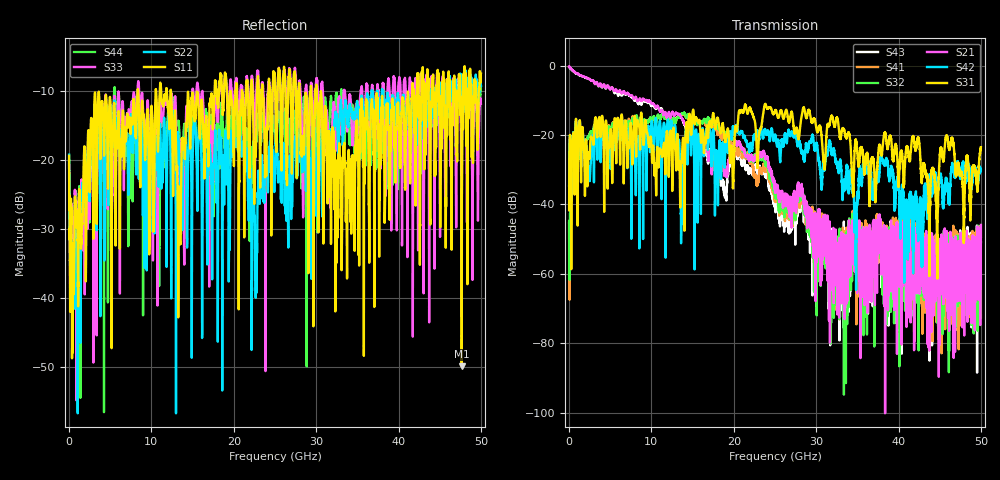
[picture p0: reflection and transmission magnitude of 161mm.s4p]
!Agilent Technologies,N5245A,MY51251349,A.09.33.09
!Agilent N5245A: A.09.33.09
!Date: Wednesday, September 30, 2020 16:31:15
!Correction: S11(Full 4 Port(1,2,3,4))
!S12(Full 4 Port(1,2,3,4))
!S13(Full 4 Port(1,2,3,4))
!S14(Full 4 Port(1,2,3,4))
!S21(Full 4 Port(1,2,3,4))
!S22(Full 4 Port(1,2,3,4))
!S23(Full 4 Port(1,2,3,4))
!S24(Full 4 Port(1,2,3,4))
!S31(Full 4 Port(1,2,3,4))
!S32(Full 4 Port(1,2,3,4))
!S33(Full 4 Port(1,2,3,4))
!S34(Full 4 Port(1,2,3,4))
!S41(Full 4 Port(1,2,3,4))
!S42(Full 4 Port(1,2,3,4))
!S43(Full 4 Port(1,2,3,4))
!S44(Full 4 Port(1,2,3,4))
!S4P File: Measurements: <S11,S12,S13,S14>,
!<S21,S22,S23,S24>,
!<S31,S32,S33,S34>,
!<S41,S42,S43,S44>:
# Hz S  dB  R 50
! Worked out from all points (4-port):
!   6401 points, 10 MHz to 50 GHz, reference 50 ohm
!   strongest paths, dB at 10 MHz, 12.51 GHz, 25 GHz, 37.5 GHz, 50 GHz:
!     S31: -41.6, -28.7, -13.1, -26.5, -23.5
!     S42: -34.6, -17.0, -19.9, -32.3, -30.1
!     S21: -0.2, -13.5, -35.3, -46.9, -45.9
!     S32: -45.4, -17.1, -36.7, -49.1, -72.4
!     S41: -44.9, -16.7, -38.7, -50.0, -49.3
!     S43: -0.4, -15.5, -40.8, -47.2, -50.9
!   lowest |S11| = -49.9 dB at 47.67 GHz (marker M1), VSWR 1.01, Z = 49.9 - j0.29 ohm
!   |S11| at or under -10 dB: start of sweep to 8.318 GHz; 12.37 GHz to 17.68 GHz (5.307 GHz wide, 35.3 % of centre); 30.06 GHz to 41.68 GHz (11.62 GHz wide, 32.4 % of centre)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
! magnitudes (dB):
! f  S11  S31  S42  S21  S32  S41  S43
! 10 MHz  -19.4  -41.6  -34.6  -0.2  -45.4  -44.9  -0.4
! 2.9 GHz  -21.0  -21.3  -20.7  -4.3  -19.2  -19.3  -4.4
! 13.85 GHz  -18.5  -20.9  -31.8  -15.7  -13.8  -14.1  -16.1
! 32.64 GHz  -24.5  -15.7  -29.7  -55.2  -49.9  -49.9  -57.5
! 40.94 GHz  -15.0  -24.5  -39.8  -51.7  -61.4  -51.0  -46.6
! 47.67 GHz  -49.9  -31.5  -29.8  -53.2  -56.2  -57.0  -51.3
! 50 GHz  -7.5  -23.5  -30.1  -45.9  -72.4  -49.3  -50.9
